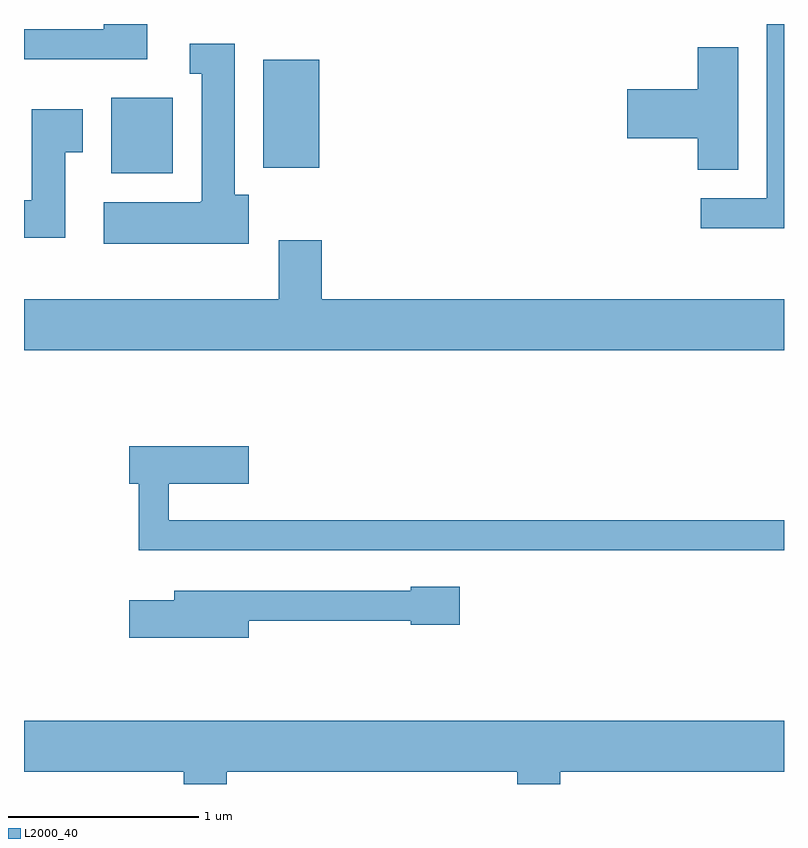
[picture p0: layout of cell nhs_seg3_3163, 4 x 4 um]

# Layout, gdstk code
import gdstk
lib = gdstk.Library(unit=1e-6, precision=1e-09)
def R(c, l, rs):  # rectangles x0, y0, x1, y1
    for r in rs: c.add(gdstk.rectangle(r[:2], r[2:], *l))
def P(c, l, *ps):  # polygons
    for p in ps: c.add(gdstk.Polygon(p, *l))
L2000_40 = (2000, 40)

nhs_seg3_3163 = lib.new_cell('nhs_seg3_3163')
R(nhs_seg3_3163, L2000_40, [(278.071,1189.106,278.394,1189.504), (278.871,1189.136,279.164,1189.704)])
P(nhs_seg3_3163, L2000_40, [(278.259,1189.892),(278.031,1189.892),(278.031,1189.864),(277.611,1189.864),(277.611,1189.706),(278.259,1189.706)],
  [(281.611,1189.892),(281.521,1189.892),(281.521,1188.974),(281.173,1188.974),(281.173,1188.816),(281.611,1188.816)],
  [(278.794,1188.994),(278.719,1188.994),(278.719,1189.789),(278.483,1189.789),(278.483,1189.631),(278.546,1189.631),(278.546,1188.96),(278.54,1188.96),(278.54,1188.954),(278.031,1188.954),(278.031,1188.736),(278.794,1188.736)],
  [(281.369,1189.769),(281.156,1189.769),(281.156,1189.549),(280.786,1189.549),(280.786,1189.291),(281.156,1189.291),(281.156,1189.126),(281.369,1189.126)],
  [(277.829,1189.216),(277.919,1189.216),(277.919,1189.444),(277.651,1189.444),(277.651,1188.964),(277.611,1188.964),(277.611,1188.766),(277.829,1188.766)],
  [(281.611,1188.444),(279.179,1188.444),(279.179,1188.754),(278.951,1188.754),(278.951,1188.444),(277.611,1188.444),(277.611,1188.176),(281.611,1188.176)],
  [(281.611,1187.279),(278.374,1187.279),(278.374,1187.471),(278.794,1187.471),(278.794,1187.669),(278.166,1187.669),(278.166,1187.471),(278.216,1187.471),(278.216,1187.121),(281.611,1187.121)],
  [(278.794,1186.751),(279.646,1186.751),(279.646,1186.731),(279.904,1186.731),(279.904,1186.929),(279.646,1186.929),(279.646,1186.909),(278.401,1186.909),(278.401,1186.859),(278.166,1186.859),(278.166,1186.661),(278.794,1186.661)],
  [(278.679,1185.956),(280.206,1185.956),(280.206,1185.892),(280.434,1185.892),(280.434,1185.956),(281.611,1185.956),(281.611,1186.224),(277.611,1186.224),(277.611,1185.956),(278.451,1185.956),(278.451,1185.892),(278.679,1185.892)])

lib.write_gds('nhs_seg3_3163.gds')
